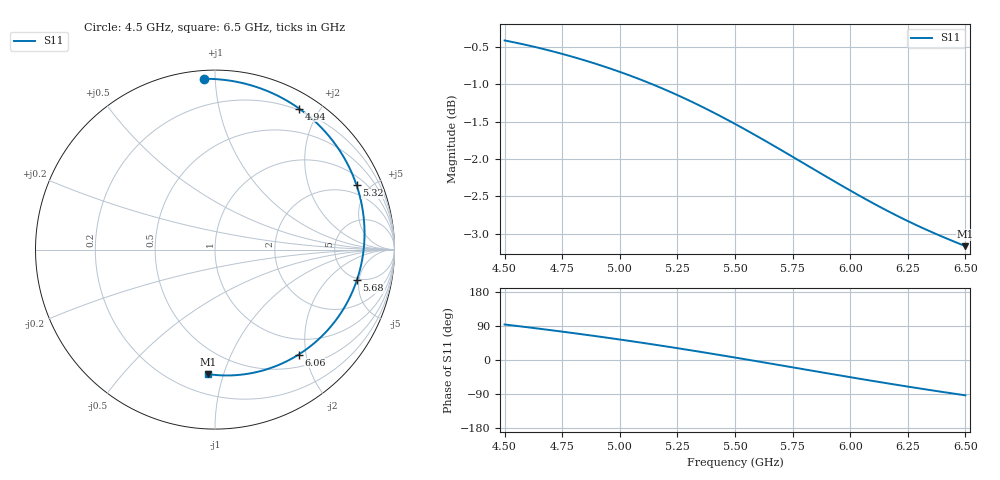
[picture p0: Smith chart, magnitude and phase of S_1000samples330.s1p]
! TOUCHSTONE file generated by CST MICROWAVE STUDIO
! Date and time: Thu Oct 27 19:25:45 2022
! Project name: L.cst
! Parameters = {Di=1.27; Epsilon_r=1.56; InnerDiameter=1.27; Length=2; Lf=10; Lg=60; OuterConductorThickness=0.2921; OuterDiameter=3.6; Wf=3; Wp=41.2; de=1.5; df=6.8; g=0.8; gx=2.25661; gy=4.03472; h=2.34; hf=1.524; px=10.0889; py=10.599; w=9.7; wx=7.83231; wy=6.56424}
! Header version: 2018
! Port assignment regex: !\s*Touchstone port\s*([0-9]+)\s*=\s*(CST MWS port|CST DS port)\s*([0-9]+|Zmin|Zmax)\s*\(\"(.*)\"\)(\s*mode\s*([0-9]+))?.*
! Touchstone port assignment:
! Touchstone port 1 = CST MWS port 1 ("")
# GHz S DB R 50
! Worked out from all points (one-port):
!   101 points, 4.5 GHz to 6.5 GHz, reference 50 ohm
!   lowest |S11| = -3.2 dB at 6.5 GHz (marker M1), VSWR 5.55, Z = 16.6 - j44.4 ohm
!   |S11| at or under -10 dB: nowhere
!   S11 on the Smith chart (normalised r, x): 4.5 GHz: 0.04, +0.94; 4.94 GHz: 0.18, +1.75; 5.32 GHz: 1.44, +4.14; 5.68 GHz: 4.78, -4.68; 6.06 GHz: 0.70, -1.87; 6.5 GHz: 0.33, -0.89
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4.5  -0.41 93.7
4.58  -0.46 87.9
4.64  -0.51 83.4
4.7  -0.55 78.7
4.76  -0.60 74.0
4.86  -0.69 65.9
4.94  -0.77 59.2
5  -0.83 54.0
5.06  -0.90 48.7
5.14  -1.00 41.5
5.2  -1.08 35.9
5.26  -1.16 30.2
5.32  -1.25 24.4
5.42  -1.40 14.5
5.5  -1.53 6.5
5.58  -1.67 -1.7
5.68  -1.84 -12.1
5.76  -1.99 -20.4
5.82  -2.10 -26.7
5.88  -2.21 -32.9
5.94  -2.31 -39.1
6  -2.42 -45.3
6.06  -2.52 -51.4
6.16  -2.69 -61.4
6.26  -2.84 -71.1
6.32  -2.93 -76.8
6.38  -3.01 -82.4
6.5  -3.17 -93.2
